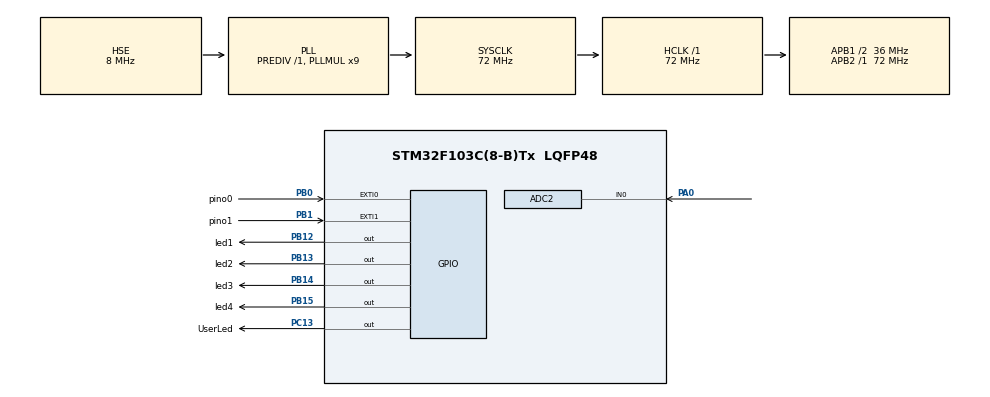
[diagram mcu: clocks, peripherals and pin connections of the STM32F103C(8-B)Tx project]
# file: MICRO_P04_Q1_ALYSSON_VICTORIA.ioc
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ADC2.Channel-1\#ChannelRegularConversion=ADC_CHANNEL_0
ADC2.NbrOfConversionFlag=1
ADC2.Rank-1\#ChannelRegularConversion=1
ADC2.SamplingTime-1\#ChannelRegularConversion=ADC_SAMPLETIME_1CYCLE_5
Mcu.Family=STM32F1
Mcu.Name=STM32F103C(8-B)Tx
Mcu.Package=LQFP48
NVIC.EXTI0_IRQn=true\:0\:0\:true\:false\:true\:true\:true\:true
NVIC.EXTI1_IRQn=true\:0\:0\:true\:false\:true\:true\:true\:true
NVIC.PriorityGroup=NVIC_PRIORITYGROUP_4
PA0-WKUP.Signal=ADCx_IN0
PA13.Mode=Serial_Wire
PA13.Signal=SYS_JTMS-SWDIO
PA14.Mode=Serial_Wire
PA14.Signal=SYS_JTCK-SWCLK
PB0.GPIO_Label=pino0
PB0.GPIO_ModeDefaultEXTI=GPIO_MODE_IT_FALLING
PB0.GPIO_PuPd=GPIO_PULLUP
PB0.Signal=GPXTI0
PB1.GPIO_Label=pino1
PB1.GPIO_ModeDefaultEXTI=GPIO_MODE_IT_FALLING
PB1.GPIO_PuPd=GPIO_PULLUP
PB1.Signal=GPXTI1
PB12.GPIO_Label=led1
PB12.GPIO_Speed=GPIO_SPEED_FREQ_LOW
PB12.PinState=GPIO_PIN_SET
PB12.Signal=GPIO_Output
PB13.GPIO_Label=led2
PB13.GPIO_Speed=GPIO_SPEED_FREQ_LOW
PB13.PinState=GPIO_PIN_SET
PB13.Signal=GPIO_Output
PB14.GPIO_Label=led3
PB14.GPIO_Speed=GPIO_SPEED_FREQ_LOW
PB14.PinState=GPIO_PIN_SET
PB14.Signal=GPIO_Output
PB15.GPIO_Label=led4
PB15.GPIO_Speed=GPIO_SPEED_FREQ_LOW
PB15.PinState=GPIO_PIN_SET
PB15.Signal=GPIO_Output
PC13-TAMPER-RTC.GPIO_Label=UserLed
PC13-TAMPER-RTC.PinState=GPIO_PIN_SET
PC13-TAMPER-RTC.Signal=GPIO_Output
PD0-OSC_IN.Mode=HSE-External-Oscillator
PD0-OSC_IN.Signal=RCC_OSC_IN
PD1-OSC_OUT.Mode=HSE-External-Oscillator
PD1-OSC_OUT.Signal=RCC_OSC_OUT
ProjectManager.HeapSize=0x200
ProjectManager.StackSize=0x400
ProjectManager.TargetToolchain=STM32CubeIDE
RCC.ADCPresc=RCC_ADCPCLK2_DIV6
RCC.AHBFreq_Value=72000000
RCC.APB1CLKDivider=RCC_HCLK_DIV2
RCC.APB1Freq_Value=36000000
RCC.APB1TimFreq_Value=72000000
RCC.APB2Freq_Value=72000000
RCC.APB2TimFreq_Value=72000000
RCC.HCLKFreq_Value=72000000
RCC.PLLMUL=RCC_PLL_MUL9
RCC.PLLSourceVirtual=RCC_PLLSOURCE_HSE
RCC.SYSCLKFreq_VALUE=72000000
RCC.SYSCLKSource=RCC_SYSCLKSOURCE_PLLCLK
RCC.USBFreq_Value=72000000
SH.ADCx_IN0.0=ADC2_IN0,IN0
board=custom

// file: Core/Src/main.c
/* USER CODE BEGIN Header */
/**
  ******************************************************************************
  * @file           : main.c
  * @brief          : Questão 1 - Configuração do conversor AD
  * @author         : Alysson Lucas Pontes Cavalcante da Silva e Maria Victória Martins Neves
  * @date           : 06/05/2026
  * @details        : Aprendendo a realizar a conversão do conversor Analógico para digital.
  ******************************************************************************
  */
/* USER CODE END Header */
#include "main.h"

/* USER CODE BEGIN PD */
#define ADC_MAX_VAL 4095 // Resolução de 12 bits do ADC do STM32
#define VCC_80      ((ADC_MAX_VAL * 80) / 100) // ADC 80%
#define VCC_60      ((ADC_MAX_VAL * 60) / 100) // ADC 60%
#define VCC_40      ((ADC_MAX_VAL * 40) / 100) // ADC 40%
#define VCC_20      ((ADC_MAX_VAL * 20) / 100) // ADC 20%
/* USER CODE END PD */

ADC_HandleTypeDef hadc2;

void SystemClock_Config(void);
static void MX_GPIO_Init(void);
static void MX_ADC2_Init(void);
/* USER CODE BEGIN PFP */

void UserLed(uint32_t tempo_atual, uint32_t *time_UserLed);
void LedComportamento(uint32_t valor_adc);
/* USER CODE END PFP */

int main(void)
{

  /* USER CODE BEGIN 1 */

  uint32_t tempo_atual = HAL_GetTick(); // Atualiza o tempo atual em milissegundos
  uint32_t time_UserLed = tempo_atual; //Controlar o tempo do Userled.
  uint32_t valor_adc = 0; // Variável que armázena o valor ADC.

  /* USER CODE END 1 */

  /* MCU Configuration--------------------------------------------------------*/

  /* Reset of all peripherals, Initializes the Flash interface and the Systick. */
  HAL_Init();

  /* Configure the system clock */
  SystemClock_Config();

  /* Initialize all configured peripherals */
  MX_GPIO_Init();
  MX_ADC2_Init();
  /* USER CODE BEGIN 2 */
  HAL_ADC_Start(&hadc2); // inicialização da captura do ADC2

  /* USER CODE END 2 */

  /* Infinite loop */
  /* USER CODE BEGIN WHILE */
  while (1)
  {
      // Atualiza o tempo atual
      tempo_atual = HAL_GetTick();

      UserLed(tempo_atual, &time_UserLed);

      if(HAL_ADC_PollForConversion(&hadc2, 0) == HAL_OK) // Verifica se a conversão foi realizada
      {
          valor_adc = HAL_ADC_GetValue(&hadc2); // Salva o valor na variável

          LedComportamento(valor_adc);

          HAL_ADC_Start(&hadc2); // Inicializa uma nova conversão
      }
  /* USER CODE END WHILE */

  }
}

void SystemClock_Config(void)
{
  RCC_OscInitTypeDef RCC_OscInitStruct = {0};
  RCC_ClkInitTypeDef RCC_ClkInitStruct = {0};
  RCC_PeriphCLKInitTypeDef PeriphClkInit = {0};

  /** Initializes the RCC Oscillators according to the specified parameters
  * in the RCC_OscInitTypeDef structure.
  */
  RCC_OscInitStruct.OscillatorType = RCC_OSCILLATORTYPE_HSE;
  RCC_OscInitStruct.HSEState = RCC_HSE_ON;
  RCC_OscInitStruct.HSEPredivValue = RCC_HSE_PREDIV_DIV1;
  RCC_OscInitStruct.HSIState = RCC_HSI_ON;
  RCC_OscInitStruct.PLL.PLLState = RCC_PLL_ON;
  RCC_OscInitStruct.PLL.PLLSource = RCC_PLLSOURCE_HSE;
  RCC_OscInitStruct.PLL.PLLMUL = RCC_PLL_MUL9;
  if (HAL_RCC_OscConfig(&RCC_OscInitStruct) != HAL_OK)
  {
    Error_Handler();
  }

  /** Initializes the CPU, AHB and APB buses clocks
  */
  RCC_ClkInitStruct.ClockType = RCC_CLOCKTYPE_HCLK|RCC_CLOCKTYPE_SYSCLK
                              |RCC_CLOCKTYPE_PCLK1|RCC_CLOCKTYPE_PCLK2;
  RCC_ClkInitStruct.SYSCLKSource = RCC_SYSCLKSOURCE_PLLCLK;
  RCC_ClkInitStruct.AHBCLKDivider = RCC_SYSCLK_DIV1;
  RCC_ClkInitStruct.APB1CLKDivider = RCC_HCLK_DIV2;
  RCC_ClkInitStruct.APB2CLKDivider = RCC_HCLK_DIV1;

  if (HAL_RCC_ClockConfig(&RCC_ClkInitStruct, FLASH_LATENCY_2) != HAL_OK)
  {
    Error_Handler();
  }
  PeriphClkInit.PeriphClockSelection = RCC_PERIPHCLK_ADC;
  PeriphClkInit.AdcClockSelection = RCC_ADCPCLK2_DIV6;
  if (HAL_RCCEx_PeriphCLKConfig(&PeriphClkInit) != HAL_OK)
  {
    Error_Handler();
  }
}

static void MX_ADC2_Init(void)
{

  ADC_ChannelConfTypeDef sConfig = {0};

  /** Common config
  */
  hadc2.Instance = ADC2;
  hadc2.Init.ScanConvMode = ADC_SCAN_DISABLE;
  hadc2.Init.ContinuousConvMode = DISABLE;
  hadc2.Init.DiscontinuousConvMode = DISABLE;
  hadc2.Init.ExternalTrigConv = ADC_SOFTWARE_START;
  hadc2.Init.DataAlign = ADC_DATAALIGN_RIGHT;
  hadc2.Init.NbrOfConversion = 1;
  if (HAL_ADC_Init(&hadc2) != HAL_OK)
  {
    Error_Handler();
  }

  /** Configure Regular Channel
  */
  sConfig.Channel = ADC_CHANNEL_0;
  sConfig.Rank = ADC_REGULAR_RANK_1;
  sConfig.SamplingTime = ADC_SAMPLETIME_1CYCLE_5;
  if (HAL_ADC_ConfigChannel(&hadc2, &sConfig) != HAL_OK)
  {
    Error_Handler();
  }

}

static void MX_GPIO_Init(void)
{
  GPIO_InitTypeDef GPIO_InitStruct = {0};

  /* GPIO Ports Clock Enable */
  __HAL_RCC_GPIOC_CLK_ENABLE();
  __HAL_RCC_GPIOD_CLK_ENABLE();
  __HAL_RCC_GPIOA_CLK_ENABLE();
  __HAL_RCC_GPIOB_CLK_ENABLE();

  /*Configure GPIO pin Output Level */
  HAL_GPIO_WritePin(UserLed_GPIO_Port, UserLed_Pin, GPIO_PIN_SET);

  /*Configure GPIO pin Output Level */
  HAL_GPIO_WritePin(GPIOB, led1_Pin|led2_Pin|led3_Pin|led4_Pin, GPIO_PIN_SET);

  /*Configure GPIO pin : UserLed_Pin */
  GPIO_InitStruct.Pin = UserLed_Pin;
  GPIO_InitStruct.Mode = GPIO_MODE_OUTPUT_PP;
  GPIO_InitStruct.Pull = GPIO_NOPULL;
  GPIO_InitStruct.Speed = GPIO_SPEED_FREQ_LOW;
  HAL_GPIO_Init(UserLed_GPIO_Port, &GPIO_InitStruct);

  /*Configure GPIO pins : pino0_Pin pino1_Pin */
  GPIO_InitStruct.Pin = pino0_Pin|pino1_Pin;
  GPIO_InitStruct.Mode = GPIO_MODE_IT_FALLING;
  GPIO_InitStruct.Pull = GPIO_PULLUP;
  HAL_GPIO_Init(GPIOB, &GPIO_InitStruct);

  /*Configure GPIO pins : led1_Pin led2_Pin led3_Pin led4_Pin */
  GPIO_InitStruct.Pin = led1_Pin|led2_Pin|led3_Pin|led4_Pin;
  GPIO_InitStruct.Mode = GPIO_MODE_OUTPUT_PP;
  GPIO_InitStruct.Pull = GPIO_NOPULL;
  GPIO_InitStruct.Speed = GPIO_SPEED_FREQ_LOW;
  HAL_GPIO_Init(GPIOB, &GPIO_InitStruct);

  /* EXTI interrupt init*/
  HAL_NVIC_SetPriority(EXTI0_IRQn, 0, 0);
  HAL_NVIC_EnableIRQ(EXTI0_IRQn);

  HAL_NVIC_SetPriority(EXTI1_IRQn, 0, 0);
  HAL_NVIC_EnableIRQ(EXTI1_IRQn);

}

/* USER CODE BEGIN 4 */

/**
  * @brief  Máquina de estados não-bloqueante responsável por indicar o funcionamento do sistema (Heartbeat).
  * Pisca o UserLed de forma contínua no padrão 50ms aceso e 1950ms apagado.
  * @param  tempo_atual Tempo atual do sistema em milissegundos.
  * @param  time_UserLed Ponteiro para a variável que gerencia a transição de estados do LED.
  * @retval None
  */
void UserLed(uint32_t tempo_atual, uint32_t *time_UserLed)
{
    if (HAL_GPIO_ReadPin(UserLed_GPIO_Port, UserLed_Pin) == GPIO_PIN_SET) // Se apagado
    {
        if ((tempo_atual - *time_UserLed) >= 1950)
        {
            HAL_GPIO_WritePin(UserLed_GPIO_Port, UserLed_Pin, GPIO_PIN_RESET);
            *time_UserLed = tempo_atual;
        }
    } else // Se aceso
    {
        if ((tempo_atual - *time_UserLed) >= 50)
        {
            HAL_GPIO_WritePin(UserLed_GPIO_Port, UserLed_Pin, GPIO_PIN_SET);
            *time_UserLed = tempo_atual;
        }
    }
}
/**
  * @brief  Controla o acionamento segmentado dos LEDs D1, D2, D3 e D4 baseado no nível do ADC.
  * Atua como um "barra de progresso", ligando os LEDs conforme faixas de tensão (20%, 40%, 60% e 80% do VCC).
  * @param  valor_adc Valor atual lido do buffer do ADC para comparação.
  * @retval None
  */
void LedComportamento(uint32_t valor_adc)
{
	if (valor_adc > VCC_80)
	          {
	              // Se maior que 80% todos os LEDs ligados
	              HAL_GPIO_WritePin(GPIOB, led1_Pin | led2_Pin | led3_Pin | led4_Pin, GPIO_PIN_RESET);
	          }
	          else if (valor_adc > VCC_60)
	          {
	              // Entre 60% e 80% D1, D2 e D3 ligados; D4 desligado
	              HAL_GPIO_WritePin(GPIOB, led1_Pin | led2_Pin | led3_Pin, GPIO_PIN_RESET);
	              HAL_GPIO_WritePin(GPIOB, led4_Pin, GPIO_PIN_SET);
	          }
	          else if (valor_adc > VCC_40)
	          {
	              // Entre 40% e 60% D1 e D2 ligados; D3 e D4 desligados
	              HAL_GPIO_WritePin(GPIOB, led1_Pin | led2_Pin, GPIO_PIN_RESET);
	              HAL_GPIO_WritePin(GPIOB, led3_Pin | led4_Pin, GPIO_PIN_SET);
	          }
	          else if (valor_adc > VCC_20)
	          {
	              // Entre 20% e 40% D1 ligado; D2, D3 e D4 desligados
	              HAL_GPIO_WritePin(GPIOB, led1_Pin, GPIO_PIN_RESET);
	              HAL_GPIO_WritePin(GPIOB, led2_Pin | led3_Pin | led4_Pin, GPIO_PIN_SET);
	          }
	          else {
	              // Menor ou igual a 20% todos os LEDs desligados
	              HAL_GPIO_WritePin(GPIOB, led1_Pin | led2_Pin | led3_Pin | led4_Pin, GPIO_PIN_SET);
	          }
}
/* USER CODE END 4 */

void Error_Handler(void)
{
  __disable_irq();
  while (1)
  {
  }
}
